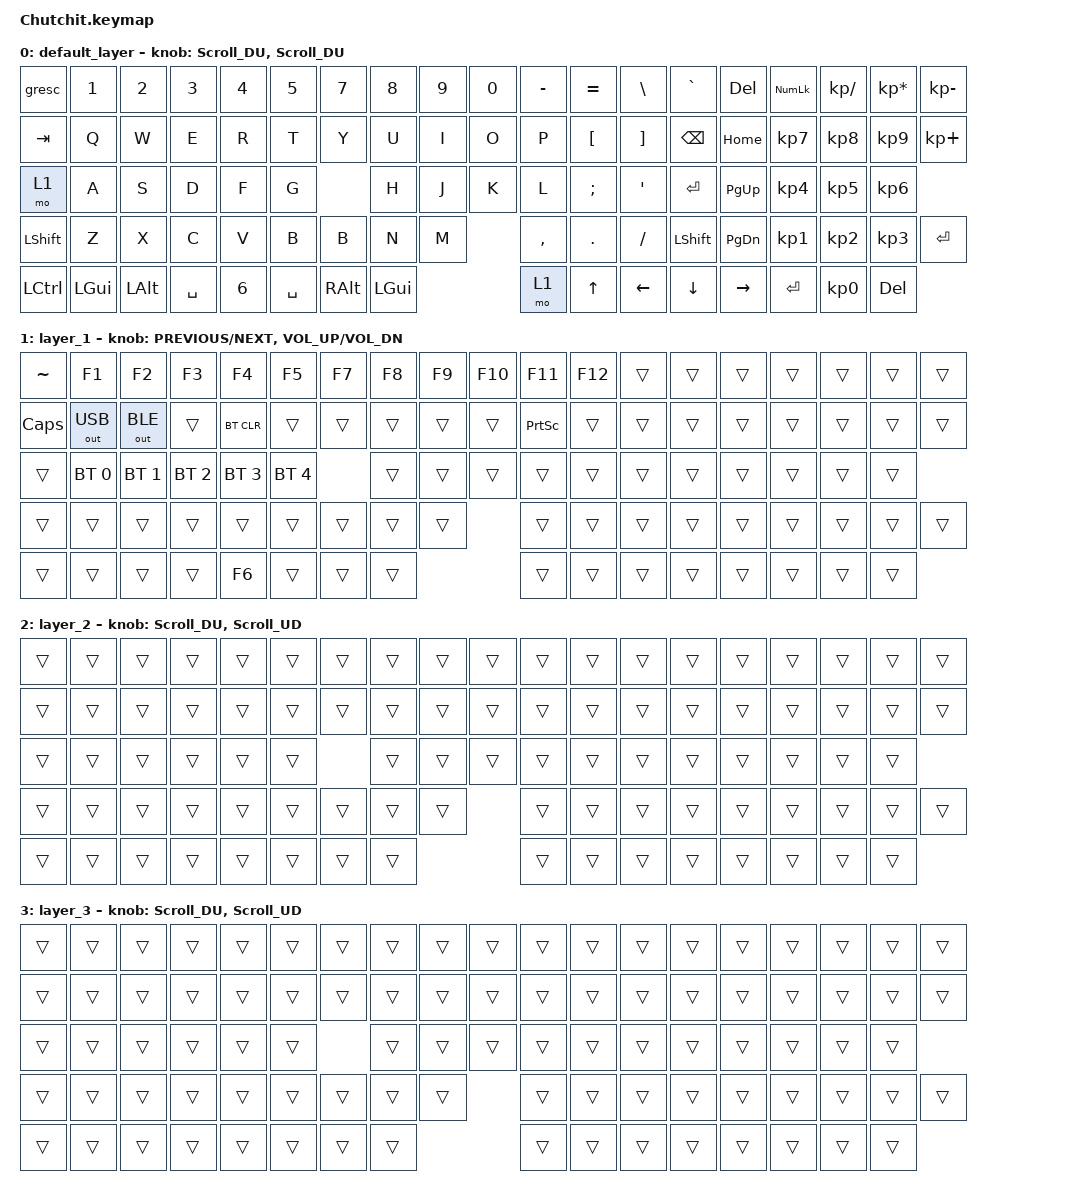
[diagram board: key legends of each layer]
/*
 * Copyright (c) 2020 The ZMK Contributors
 *
 * SPDX-License-Identifier: MIT
 */

#include <input/processors.dtsi>
#include <zephyr/dt-bindings/input/input-event-codes.h>
#include <dt-bindings/zmk/mouse.h>
#include <behaviors/mouse_keys.dtsi>
#include <behaviors.dtsi>
#include <dt-bindings/zmk/bt.h>
#include <dt-bindings/zmk/keys.h>
#include <dt-bindings/zmk/outputs.h>
#include <dt-bindings/zmk/pointing.h>

#define DEFAULT 0
#define LOWER  1
#define RAISE  2
#define ADJUST 3
#define FUNCTION 4

/* NOTE: At the time of the creation of this keymap, there are no specified codes for 'eisuu' and 'kana' input in ZMK.
However, 'LANG1' and 'LANG2' are fully-functioning candidates for 'kana' and 'eisuu' input respectively.
As such, those are in use within the default layer at this time.*/

&mmv_input_listener { input-processors = <&zip_xy_scaler 2 1>; };

&msc_input_listener { input-processors = <&zip_scroll_scaler 2 1>; };

&msc {
    acceleration-exponent = <1>;      // 0
    time-to-max-speed-ms = <100>;       // 300
    delay-ms = <0>;                   // 0
};

&mmv {
    time-to-max-speed-ms = <500>;
    acceleration-exponent = <1>;
    trigger-period-ms = <16>;
};

&soft_off {
    hold-time-ms = <3000>; // Only turn off it the key is held for 3 seconds or longer.
};

&mt {
    tapping-term-ms = <300>;
    flavor = "balanced";
};

&lt { tapping-term-ms = <300>; };

#define ZMK_POINTING_DEFAULT_MOVE_VAL 1200  // 600
#define ZMK_POINTING_DEFAULT_SCRL_VAL 900   // mousescroll SPEED

/ {
    behaviors {
        Scroll_DU: Scroll_DU {
            compatible = "zmk,behavior-sensor-rotate";
            label = "SCROLL_DU";
            #sensor-binding-cells = <0>;
            bindings = <&msc SCRL_DOWN>, <&msc SCRL_UP>;

            tap-ms = <20>;
        };

        Scroll_UD: Scroll_UD {
            compatible = "zmk,behavior-sensor-rotate";
            label = "SCROLL_UD";
            #sensor-binding-cells = <0>;
            bindings = <&msc SCRL_UP>, <&msc SCRL_DOWN>;

            tap-ms = <20>;
        };

        Scroll_RL: Scroll_RL {
            compatible = "zmk,behavior-sensor-rotate";
            label = "SCROLL_RL";
            #sensor-binding-cells = <0>;
            bindings = <&msc SCRL_RIGHT>, <&msc SCRL_LEFT>;

            tap-ms = <20>;
        };

        Scroll_LR: Scroll_LR {
            compatible = "zmk,behavior-sensor-rotate";
            label = "SCROLL_LR";
            #sensor-binding-cells = <0>;
            bindings = <&msc SCRL_LEFT>, <&msc SCRL_RIGHT>;

            tap-ms = <20>;
        };

        Td_01: Td_01 {
            compatible = "zmk,behavior-tap-dance";
            label = "TD_01";
            #binding-cells = <0>;
            bindings = <&kp EQUAL>, <&kp ASTRK>, <&kp SLASH>, <&kp PAUSE_BREAK>;
        };
    };

    combos {
        compatible = "zmk,combos";

        BT-del-all {
            bindings = <&bt BT_CLR_ALL>;
            key-positions = <6 7>;
            layers = <1>;
        };

        lpar {
            bindings = <&kp LPAR>;
            key-positions = <31 32>;
            layers = <0>;
        };

        rpar {
            bindings = <&kp RPAR>;
            key-positions = <32 33>;
            layers = <0>;
        };
    };

    keymap {
        compatible = "zmk,keymap";

        default_layer {
            bindings = <
&gresc     &kp N1    &kp N2    &kp N3  &kp N4     &kp N5  &kp N7     &kp N8    &kp N9    &kp N0  &kp MINUS  &kp EQUAL  &kp BSLH  &kp GRAVE  &kp DEL        &kp KP_NUMLOCK   &kp KP_DIVIDE    &kp KP_MULTIPLY  &kp KP_MINUS
&kp TAB    &kp Q     &kp W     &kp E   &kp R      &kp T   &kp Y      &kp U     &kp I     &kp O   &kp P      &kp LBKT  &kp RBKT  &kp BSPC   &kp HOME       &kp KP_N7        &kp KP_N8        &kp KP_N9        &kp KP_PLUS
&mo 1      &kp A     &kp S     &kp D   &kp F      &kp G              &kp H     &kp J     &kp K   &kp L      &kp SEMI  &kp SQT   &kp ENTER  &kp PAGE_UP    &kp KP_N4        &kp KP_N5        &kp KP_N6
&kp LSHFT  &kp Z     &kp X     &kp C   &kp V      &kp B              &kp B     &kp N     &kp M   &kp COMMA  &kp DOT   &kp FSLH  &kp LSHFT  &kp PAGE_DOWN  &kp KP_NUMBER_1  &kp KP_NUMBER_2  &kp KP_NUMBER_3  &kp ENTER
&kp LCTRL  &kp LGUI  &kp LALT          &kp SPACE  &kp N6  &kp SPACE  &kp RALT  &kp LGUI  &mo 1   &kp UP     &kp LEFT  &kp DOWN  &kp RIGHT  &kp RET        &kp KP_NUMBER_0                   &kp DEL
            >;

            sensor-bindings = <&Scroll_DU>, <&Scroll_DU>;
        };

        layer_1 {
            bindings = <
&kp TILDE  &kp F1        &kp F2        &kp F3        &kp F4        &kp F5        &kp F7  &kp F8  &kp F9  &kp F10  &kp F11          &kp F12  &trans  &trans  &trans  &trans  &trans  &trans  &trans
&kp CAPS   &out OUT_USB  &out OUT_BLE  &trans        &bt BT_CLR    &trans        &trans  &trans  &trans  &trans   &kp PRINTSCREEN  &trans   &trans  &trans  &trans  &trans  &trans  &trans  &trans
&trans     &bt BT_SEL 0  &bt BT_SEL 1  &bt BT_SEL 2  &bt BT_SEL 3  &bt BT_SEL 4          &trans  &trans  &trans  &trans   &trans           &trans   &trans  &trans  &trans  &trans  &trans
&trans     &trans        &trans        &trans        &trans        &trans                &trans  &trans  &trans  &trans   &trans           &trans   &trans  &trans  &trans  &trans  &trans  &trans
&trans     &trans        &trans                      &trans        &kp F6        &trans  &trans  &trans  &trans  &trans   &trans           &trans   &trans  &trans  &trans          &trans
            >;

            sensor-bindings =
                <&inc_dec_kp C_PREVIOUS C_NEXT>,
                <&inc_dec_kp C_VOLUME_UP C_VOL_DN>;
        };

        layer_2 {
            bindings = <
&trans  &trans  &trans  &trans  &trans  &trans  &trans  &trans  &trans  &trans  &trans  &trans  &trans  &trans  &trans  &trans  &trans  &trans  &trans
&trans  &trans  &trans  &trans  &trans  &trans  &trans  &trans  &trans  &trans  &trans  &trans  &trans  &trans  &trans  &trans  &trans  &trans  &trans
&trans  &trans  &trans  &trans  &trans  &trans          &trans  &trans  &trans  &trans  &trans  &trans  &trans  &trans  &trans  &trans  &trans
&trans  &trans  &trans  &trans  &trans  &trans          &trans  &trans  &trans  &trans  &trans  &trans  &trans  &trans  &trans  &trans  &trans  &trans
&trans  &trans  &trans          &trans  &trans  &trans  &trans  &trans  &trans  &trans  &trans  &trans  &trans  &trans  &trans          &trans
            >;

            sensor-bindings = <&Scroll_DU>, <&Scroll_UD>;
        };

        layer_3 {
            bindings = <
&trans  &trans  &trans  &trans  &trans  &trans  &trans  &trans  &trans  &trans  &trans  &trans  &trans  &trans  &trans  &trans  &trans  &trans  &trans
&trans  &trans  &trans  &trans  &trans  &trans  &trans  &trans  &trans  &trans  &trans  &trans  &trans  &trans  &trans  &trans  &trans  &trans  &trans
&trans  &trans  &trans  &trans  &trans  &trans          &trans  &trans  &trans  &trans  &trans  &trans  &trans  &trans  &trans  &trans  &trans
&trans  &trans  &trans  &trans  &trans  &trans          &trans  &trans  &trans  &trans  &trans  &trans  &trans  &trans  &trans  &trans  &trans  &trans
&trans  &trans  &trans          &trans  &trans  &trans  &trans  &trans  &trans  &trans  &trans  &trans  &trans  &trans  &trans          &trans
            >;

            sensor-bindings = <&Scroll_DU>, <&Scroll_UD>;
        };
    };
};
